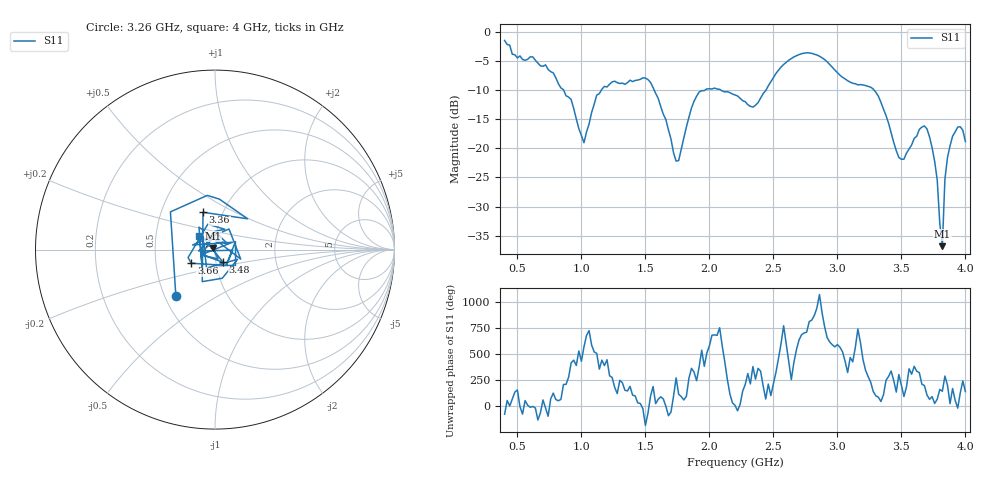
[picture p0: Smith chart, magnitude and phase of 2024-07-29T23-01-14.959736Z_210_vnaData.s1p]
!Created with skrf (http://scikit-rf.org).
# Hz S RI R 50.0
!freq ReS11 ImS11
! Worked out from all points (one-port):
!   181 points, 400 MHz to 4 GHz, reference 50 ohm
!   lowest |S11| = -36.8 dB at 3.82 GHz (marker M1), VSWR 1.03, Z = 48.9 + j0.873 ohm
!   |S11| at or under -10 dB: 1.57 GHz to 1.962 GHz (392 MHz wide, 22.2 % of centre); 2.094 GHz to 2.441 GHz (347 MHz wide, 15.3 % of centre); 3.289 GHz to end of sweep (the widest 3 of 4)
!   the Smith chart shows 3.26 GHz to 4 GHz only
!   S11 on the Smith chart (normalised r, x): 3.26 GHz: 0.57, -0.33; 3.36 GHz: 0.81, +0.35; 3.48 GHz: 1.08, -0.15; 3.66 GHz: 0.76, -0.12; 4 GHz: 0.83, +0.13
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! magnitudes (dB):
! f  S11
! 400 MHz  -1.4
! 500 MHz  -4.4
! 720 MHz  -5.6
! 860 MHz  -9.9
! 920 MHz  -11.6
! 1.02 GHz  -19.0
! 1.12 GHz  -10.8
! 1.3 GHz  -8.8
! 1.54 GHz  -8.6
! 1.76 GHz  -22.1
! 1.92 GHz  -10.3
! 2.2 GHz  -10.8
! 2.34 GHz  -12.9
! 2.66 GHz  -4.2
! 2.84 GHz  -3.9
! 3.1 GHz  -8.6
! 3.26 GHz  -9.4
! 3.36 GHz  -13.2
! 3.48 GHz  -21.5
! 3.56 GHz  -20.1
! 3.66 GHz  -16.3
! 3.7 GHz  -16.6
! 3.76 GHz  -22.2
! 3.82 GHz  -36.8
! 3.84 GHz  -25.3
! 3.88 GHz  -19.5
! 3.94 GHz  -16.3
! 4 GHz  -18.8
